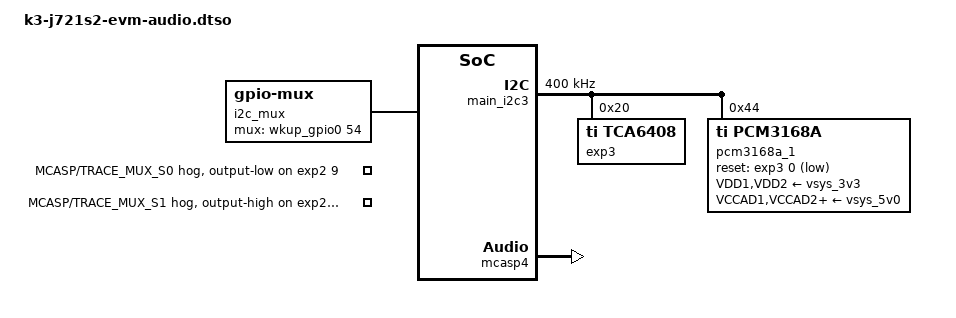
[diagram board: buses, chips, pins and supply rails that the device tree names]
// SPDX-License-Identifier: GPL-2.0-only OR MIT
/*
 * Device Tree Overlay for J721S2 Audio Support
 *
 * Copyright (C) 2026 Texas Instruments Incorporated - https://www.ti.com/
 */

/dts-v1/;
/plugin/;

#include <dt-bindings/gpio/gpio.h>

#include "k3-pinctrl.h"

&{/} {
	codec_audio: sound {
		compatible = "ti,j7200-cpb-audio";
		model = "j721s2-cpb";

		ti,cpb-mcasp = <&mcasp4>;
		ti,cpb-codec = <&pcm3168a_1>;

		clocks = <&k3_clks 213 0>, <&k3_clks 213 1>,
			 <&k3_clks 157 299>, <&k3_clks 157 328>;
		clock-names = "cpb-mcasp-auxclk", "cpb-mcasp-auxclk-48000",
			      "cpb-codec-scki", "cpb-codec-scki-48000";
	};

	i2c_mux: mux-controller-2 {
		compatible = "gpio-mux";
		#mux-state-cells = <1>;
		mux-gpios = <&wkup_gpio0 54 GPIO_ACTIVE_HIGH>;
		idle-state = <1>;
		pinctrl-names = "default";
		pinctrl-0 = <&main_i2c3_mux_pins_default>;
	};
};

&main_pmx0 {
	mcasp4_pins_default: mcasp4-default-pins {
		pinctrl-single,pins = <
			J721S2_IOPAD(0x0c8, PIN_OUTPUT_PULLDOWN, 1) /* (AD28) MCASP4_ACLKX */
			J721S2_IOPAD(0x06c, PIN_OUTPUT_PULLDOWN, 1) /* (V26) MCASP4_AFSX */
			J721S2_IOPAD(0x068, PIN_INPUT_PULLDOWN, 1) /* (U28) MCASP4_AXR1 */
			J721S2_IOPAD(0x0c4, PIN_OUTPUT_PULLDOWN, 1) /* (AB26) MCASP4_AXR2 */
			J721S2_IOPAD(0x070, PIN_OUTPUT_PULLDOWN, 1) /* (R27) MCASP4_AXR3 */
		>;
	};

	audio_ext_refclk1_pins_default: audio-ext-refclk1-default-pins {
		pinctrl-single,pins = <
			J721S2_IOPAD(0x078, PIN_OUTPUT, 1) /* (Y25) MCAN2_RX.AUDIO_EXT_REFCLK1 */
		>;
	};
};

&wkup_pmx2 {
	main_i2c3_mux_pins_default: main-i2c3-mux-default-pins {
		pinctrl-single,pins = <
			J721S2_WKUP_IOPAD(0x038, PIN_OUTPUT, 7) /* (B27) WKUP_GPIO0_54 */
		>;
	};
};

&exp2 {
	p09-hog {
		/* P09 - MCASP/TRACE_MUX_S0 */
		gpio-hog;
		gpios = <9 GPIO_ACTIVE_HIGH>;
		output-low;
		line-name = "MCASP/TRACE_MUX_S0";
	};

	p10-hog {
		/* P10 - MCASP/TRACE_MUX_S1 */
		gpio-hog;
		gpios = <10 GPIO_ACTIVE_HIGH>;
		output-high;
		line-name = "MCASP/TRACE_MUX_S1";
	};
};

&mux0 {
	idle-state = <0>;
};

&mux1 {
	idle-state = <0>;
};

&main_mcan3 {
	/* Conflicts with McASP4 signal routing via mux0 */
	status = "disabled";
};

&main_mcan5 {
	/* Conflicts with McASP4 signal routing via mux1 */
	status = "disabled";
};

&k3_clks {
	/* Configure AUDIO_EXT_REFCLK1 pin as output */
	pinctrl-names = "default";
	pinctrl-0 = <&audio_ext_refclk1_pins_default>;
};

&main_i2c3 {
	status = "okay";
	pinctrl-names = "default";
	pinctrl-0 = <&main_i2c3_pins_default>;
	clock-frequency = <400000>;
	mux-states = <&i2c_mux 1>;
	#address-cells = <1>;
	#size-cells = <0>;

	exp3: gpio@20 {
		compatible = "ti,tca6408";
		reg = <0x20>;
		gpio-controller;
		#gpio-cells = <2>;
		gpio-line-names = "CODEC_RSTZ", "CODEC_SPARE1",
				  "UB926_RESETN", "UB926_LOCK",
				  "UB926_PWR_SW_CNTRL", "UB926_TUNER_RESET",
				  "UB926_GPIO_SPARE";
	};

	pcm3168a_1: audio-codec@44 {
		compatible = "ti,pcm3168a";
		reg = <0x44>;
		#sound-dai-cells = <1>;
		reset-gpios = <&exp3 0 GPIO_ACTIVE_LOW>;
		clocks = <&audio_refclk1>;
		clock-names = "scki";
		VDD1-supply = <&vsys_3v3>;
		VDD2-supply = <&vsys_3v3>;
		VCCAD1-supply = <&vsys_5v0>;
		VCCAD2-supply = <&vsys_5v0>;
		VCCDA1-supply = <&vsys_5v0>;
		VCCDA2-supply = <&vsys_5v0>;
	};
};

&mcasp4 {
	status = "okay";
	#sound-dai-cells = <0>;
	pinctrl-names = "default";
	pinctrl-0 = <&mcasp4_pins_default>;
	op-mode = <0>;          /* MCASP_IIS_MODE */
	tdm-slots = <2>;
	auxclk-fs-ratio = <256>;
	serial-dir = <	/* 0: INACTIVE, 1: TX, 2: RX */
		0 2 1 1
		0 0 0 0
		0 0 0 0
		0 0 0 0
	>;
};
